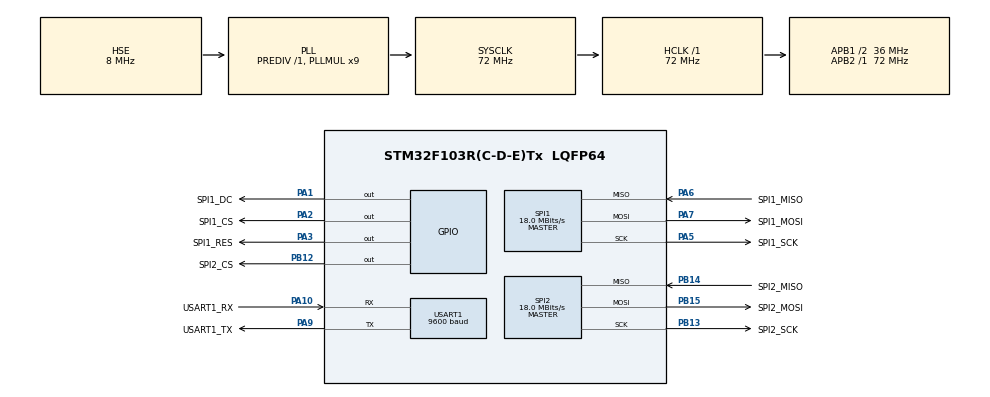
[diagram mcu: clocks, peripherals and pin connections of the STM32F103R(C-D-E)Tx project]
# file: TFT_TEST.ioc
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Dma.Request0=SPI1_TX
Dma.Request1=SPI2_TX
Dma.Request2=SPI2_RX
Dma.SPI1_TX.0.Direction=DMA_MEMORY_TO_PERIPH
Dma.SPI1_TX.0.Instance=DMA1_Channel3
Dma.SPI1_TX.0.MemDataAlignment=DMA_MDATAALIGN_BYTE
Dma.SPI1_TX.0.MemInc=DMA_MINC_ENABLE
Dma.SPI1_TX.0.Mode=DMA_NORMAL
Dma.SPI1_TX.0.PeriphDataAlignment=DMA_PDATAALIGN_BYTE
Dma.SPI1_TX.0.PeriphInc=DMA_PINC_DISABLE
Dma.SPI1_TX.0.Priority=DMA_PRIORITY_MEDIUM
Dma.SPI2_RX.2.Direction=DMA_PERIPH_TO_MEMORY
Dma.SPI2_RX.2.Instance=DMA1_Channel4
Dma.SPI2_RX.2.MemDataAlignment=DMA_MDATAALIGN_BYTE
Dma.SPI2_RX.2.MemInc=DMA_MINC_ENABLE
Dma.SPI2_RX.2.Mode=DMA_NORMAL
Dma.SPI2_RX.2.PeriphDataAlignment=DMA_PDATAALIGN_BYTE
Dma.SPI2_RX.2.PeriphInc=DMA_PINC_DISABLE
Dma.SPI2_RX.2.Priority=DMA_PRIORITY_MEDIUM
Dma.SPI2_TX.1.Direction=DMA_MEMORY_TO_PERIPH
Dma.SPI2_TX.1.Instance=DMA1_Channel5
Dma.SPI2_TX.1.MemDataAlignment=DMA_MDATAALIGN_BYTE
Dma.SPI2_TX.1.MemInc=DMA_MINC_ENABLE
Dma.SPI2_TX.1.Mode=DMA_NORMAL
Dma.SPI2_TX.1.PeriphDataAlignment=DMA_PDATAALIGN_BYTE
Dma.SPI2_TX.1.PeriphInc=DMA_PINC_DISABLE
Dma.SPI2_TX.1.Priority=DMA_PRIORITY_MEDIUM
Mcu.Family=STM32F1
Mcu.Name=STM32F103R(C-D-E)Tx
Mcu.Package=LQFP64
NVIC.DMA1_Channel3_IRQn=true\:0\:0\:false\:false\:true\:false\:true\:true
NVIC.DMA1_Channel4_IRQn=true\:0\:0\:false\:false\:true\:false\:true\:true
NVIC.DMA1_Channel5_IRQn=true\:0\:0\:false\:false\:true\:false\:true\:true
NVIC.PriorityGroup=NVIC_PRIORITYGROUP_4
NVIC.TIM6_IRQn=true\:0\:0\:false\:false\:true\:true\:true\:true
NVIC.USART1_IRQn=true\:0\:0\:false\:false\:true\:true\:true\:true
PA1.GPIO_Label=SPI1_DC
PA1.GPIO_Speed=GPIO_SPEED_FREQ_HIGH
PA1.Signal=GPIO_Output
PA10.GPIO_Label=USART1_RX
PA10.Mode=Asynchronous
PA10.Signal=USART1_RX
PA2.GPIO_Label=SPI1_CS
PA2.GPIO_Speed=GPIO_SPEED_FREQ_HIGH
PA2.PinState=GPIO_PIN_SET
PA2.Signal=GPIO_Output
PA3.GPIO_Label=SPI1_RES
PA3.GPIO_Speed=GPIO_SPEED_FREQ_HIGH
PA3.Signal=GPIO_Output
PA5.GPIO_Label=SPI1_SCK
PA5.Mode=Full_Duplex_Master
PA5.Signal=SPI1_SCK
PA6.GPIO_Label=SPI1_MISO
PA6.Mode=Full_Duplex_Master
PA6.Signal=SPI1_MISO
PA7.GPIO_Label=SPI1_MOSI
PA7.Mode=Full_Duplex_Master
PA7.Signal=SPI1_MOSI
PA9.GPIO_Label=USART1_TX
PA9.Mode=Asynchronous
PA9.Signal=USART1_TX
PB12.GPIO_Label=SPI2_CS
PB12.GPIO_Speed=GPIO_SPEED_FREQ_HIGH
PB12.PinState=GPIO_PIN_SET
PB12.Signal=GPIO_Output
PB13.GPIO_Label=SPI2_SCK
PB13.Mode=Full_Duplex_Master
PB13.Signal=SPI2_SCK
PB14.GPIO_Label=SPI2_MISO
PB14.Mode=Full_Duplex_Master
PB14.Signal=SPI2_MISO
PB15.GPIO_Label=SPI2_MOSI
PB15.Mode=Full_Duplex_Master
PB15.Signal=SPI2_MOSI
PC14-OSC32_IN.Mode=LSE-External-Clock-Source
PC14-OSC32_IN.Signal=RCC_OSC32_IN
PC15-OSC32_OUT.Mode=LSE-External-Clock-Source
PC15-OSC32_OUT.Signal=RCC_OSC32_OUT
PD0-OSC_IN.Mode=HSE-External-Oscillator
PD0-OSC_IN.Signal=RCC_OSC_IN
PD1-OSC_OUT.Mode=HSE-External-Oscillator
PD1-OSC_OUT.Signal=RCC_OSC_OUT
ProjectManager.HeapSize=0x200
ProjectManager.StackSize=0x400
ProjectManager.TargetToolchain=MDK-ARM V5.32
RCC.AHBFreq_Value=72000000
RCC.APB1CLKDivider=RCC_HCLK_DIV2
RCC.APB1Freq_Value=36000000
RCC.APB1TimFreq_Value=72000000
RCC.APB2Freq_Value=72000000
RCC.APB2TimFreq_Value=72000000
RCC.HCLKFreq_Value=72000000
RCC.PLLMUL=RCC_PLL_MUL9
RCC.PLLSourceVirtual=RCC_PLLSOURCE_HSE
RCC.SYSCLKFreq_VALUE=72000000
RCC.SYSCLKSource=RCC_SYSCLKSOURCE_PLLCLK
RCC.USBFreq_Value=72000000
SPI1.BaudRatePrescaler=SPI_BAUDRATEPRESCALER_4
SPI1.CLKPhase=SPI_PHASE_2EDGE
SPI1.CLKPolarity=SPI_POLARITY_HIGH
SPI1.CalculateBaudRate=18.0 MBits/s
SPI1.Direction=SPI_DIRECTION_2LINES
SPI1.Mode=SPI_MODE_MASTER
SPI1.VirtualType=VM_MASTER
SPI2.BaudRatePrescaler=SPI_BAUDRATEPRESCALER_2
SPI2.CalculateBaudRate=18.0 MBits/s
SPI2.Direction=SPI_DIRECTION_2LINES
SPI2.Mode=SPI_MODE_MASTER
SPI2.VirtualType=VM_MASTER
TIM6.Period=999
TIM6.Prescaler=36
USART1.BaudRate=9600
USART1.VirtualMode=VM_ASYNC
VP_SYS_VS_ND.Mode=No_Debug
VP_TIM6_VS_ClockSourceINT.Mode=Enable_Timer
board=custom

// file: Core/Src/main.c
/* USER CODE BEGIN Header */
/**
  ******************************************************************************
  * @file           : main.c
  * @brief          : Main program body
  ******************************************************************************
  * @attention
  *
  * Copyright (c) 2023 STMicroelectronics.
  * All rights reserved.
  *
  * This software is licensed under terms that can be found in the LICENSE file
  * in the root directory of this software component.
  * If no LICENSE file comes with this software, it is provided AS-IS.
  *
  ******************************************************************************
  */
/* USER CODE END Header */
#include "main.h"
#include "dma.h"
#include "spi.h"
#include "tim.h"
#include "usart.h"
#include "gpio.h"

/* USER CODE BEGIN Includes */
#include "GC9A01.h"
#include "testpic.h"
#include "lvgl.h"
#include "lv_port_disp_template.h"
#include "sd_card.h"
//#include "ui.h"
/* USER CODE END Includes */

/* USER CODE BEGIN PV */
extern const LV_ATTRIBUTE_MEM_ALIGN unsigned char ui_img_1524113965_data[];
uint8_t uart1_tx_buffer[1] = {0x55};
/* USER CODE END PV */

void SystemClock_Config(void);

int main(void)
{

  /* MCU Configuration--------------------------------------------------------*/

  /* Reset of all peripherals, Initializes the Flash interface and the Systick. */
  HAL_Init();

  /* Configure the system clock */
  SystemClock_Config();

  /* Initialize all configured peripherals */
  MX_GPIO_Init();
  MX_DMA_Init();
  MX_SPI1_Init();
  MX_TIM6_Init();
  MX_USART1_UART_Init();
  MX_SPI2_Init();
  /* USER CODE BEGIN 2 */
  SPI_CS_1;
  SPI2_CS_1;
//    TFT_init();
//    TFT_full(WHITE);
//    TFT_full(RED);
    HAL_Delay(1000);
//    Picture_display(20,20,200,198,ui_img_1524113965_data);
#if 1
lv_init();
lv_port_disp_init();
TFT_full(WHITE);
#if 1
#define BUF_W 15
#define BUF_H 15
lv_color_t LV_COLOR_BLUE, LV_COLOR_RED;
LV_COLOR_BLUE.blue = 31;
LV_COLOR_BLUE.green = 0;
LV_COLOR_BLUE.red = 0;
LV_COLOR_RED.blue = 0;
LV_COLOR_RED.green = 0;
LV_COLOR_RED.red = 31;

lv_color_t buf[BUF_W * BUF_H];
lv_color_t * buf_p = buf;
uint16_t x, y;
for(y = 0; y < BUF_H; y++) {
    lv_color_t c = lv_color_mix(LV_COLOR_BLUE, LV_COLOR_RED, (y * 255) / BUF_H);
    for(x = 0; x < BUF_W; x++){
        (*buf_p) =  c;
        buf_p++;
    }
}

lv_area_t a;
a.x1 = 100;
a.y1 = 100;
a.x2 = a.x1 + BUF_W - 1;
a.y2 = a.y1 + BUF_H - 1;
my_flush_cb(NULL, &a, buf);
#endif

#endif
  /* USER CODE END 2 */

  /* Infinite loop */
  while (1)
  {
//    lv_task_handler();
    HAL_UART_Transmit_IT(&huart1, uart1_tx_buffer, 1);
    HAL_Delay(1000);
  }
}

void SystemClock_Config(void)
{
  RCC_OscInitTypeDef RCC_OscInitStruct = {0};
  RCC_ClkInitTypeDef RCC_ClkInitStruct = {0};

  /** Initializes the RCC Oscillators according to the specified parameters
  * in the RCC_OscInitTypeDef structure.
  */
  RCC_OscInitStruct.OscillatorType = RCC_OSCILLATORTYPE_HSE;
  RCC_OscInitStruct.HSEState = RCC_HSE_ON;
  RCC_OscInitStruct.HSEPredivValue = RCC_HSE_PREDIV_DIV1;
  RCC_OscInitStruct.HSIState = RCC_HSI_ON;
  RCC_OscInitStruct.PLL.PLLState = RCC_PLL_ON;
  RCC_OscInitStruct.PLL.PLLSource = RCC_PLLSOURCE_HSE;
  RCC_OscInitStruct.PLL.PLLMUL = RCC_PLL_MUL9;
  if (HAL_RCC_OscConfig(&RCC_OscInitStruct) != HAL_OK)
  {
    Error_Handler();
  }

  /** Initializes the CPU, AHB and APB buses clocks
  */
  RCC_ClkInitStruct.ClockType = RCC_CLOCKTYPE_HCLK|RCC_CLOCKTYPE_SYSCLK
                              |RCC_CLOCKTYPE_PCLK1|RCC_CLOCKTYPE_PCLK2;
  RCC_ClkInitStruct.SYSCLKSource = RCC_SYSCLKSOURCE_PLLCLK;
  RCC_ClkInitStruct.AHBCLKDivider = RCC_SYSCLK_DIV1;
  RCC_ClkInitStruct.APB1CLKDivider = RCC_HCLK_DIV2;
  RCC_ClkInitStruct.APB2CLKDivider = RCC_HCLK_DIV1;

  if (HAL_RCC_ClockConfig(&RCC_ClkInitStruct, FLASH_LATENCY_2) != HAL_OK)
  {
    Error_Handler();
  }
}

void Error_Handler(void)
{
  __disable_irq();
  while (1)
  {
  }
}
